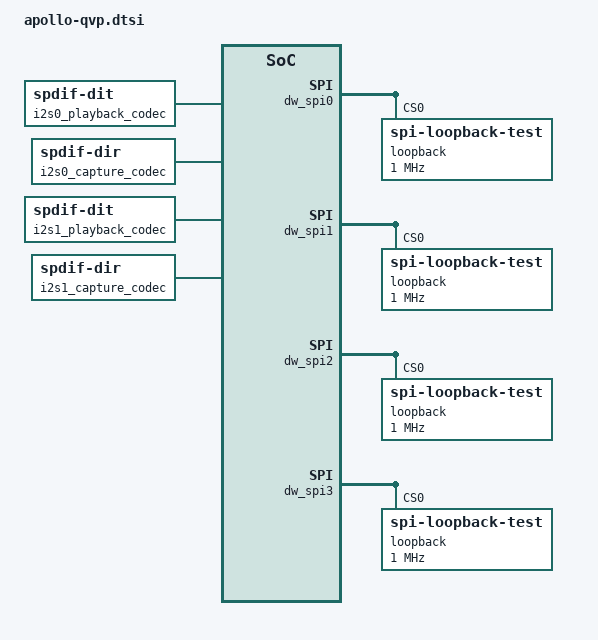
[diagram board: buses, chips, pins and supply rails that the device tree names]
// SPDX-License-Identifier: (GPL-2.0 OR BSD-3-Clause)
/*
 * Copyright (c) 2025-2026, Arm Limited. All rights reserved.
 */

/* QBox virtual transports and the existing SPI/audio test profile. */
#include "apollo.dtsi"

/ {
	i2s_clk: clock-1536000 {
		compatible = "fixed-clock";
		#clock-cells = <0>;
		clock-frequency = <1536000>;
	};

	i2s0_playback_codec: i2s0-spdif-dit {
		compatible = "linux,spdif-dit";
		#sound-dai-cells = <0>;
	};

	i2s0_capture_codec: i2s0-spdif-dir {
		compatible = "linux,spdif-dir";
		#sound-dai-cells = <0>;
	};

	i2s1_playback_codec: i2s1-spdif-dit {
		compatible = "linux,spdif-dit";
		#sound-dai-cells = <0>;
	};

	i2s1_capture_codec: i2s1-spdif-dir {
		compatible = "linux,spdif-dir";
		#sound-dai-cells = <0>;
	};

	i2s0_sound: i2s0-sound {
		compatible = "simple-audio-card";
		simple-audio-card,name = "Apollo I2S0";
		#address-cells = <1>;
		#size-cells = <0>;
		status = "disabled";

		simple-audio-card,dai-link@0 {
			reg = <0>;
			format = "i2s";
			bitclock-master = <&i2s0_tx_cpu>;
			frame-master = <&i2s0_tx_cpu>;

			i2s0_tx_cpu: cpu {
				sound-dai = <&dw_i2s0>;
			};

			codec {
				sound-dai = <&i2s0_playback_codec>;
			};
		};

		simple-audio-card,dai-link@1 {
			reg = <1>;
			format = "i2s";
			bitclock-master = <&i2s0_rx_cpu>;
			frame-master = <&i2s0_rx_cpu>;

			i2s0_rx_cpu: cpu {
				sound-dai = <&dw_i2s0>;
			};

			codec {
				sound-dai = <&i2s0_capture_codec>;
			};
		};
	};

	i2s1_sound: i2s1-sound {
		compatible = "simple-audio-card";
		simple-audio-card,name = "Apollo I2S1";
		#address-cells = <1>;
		#size-cells = <0>;
		status = "disabled";

		simple-audio-card,dai-link@0 {
			reg = <0>;
			format = "i2s";
			bitclock-master = <&i2s1_tx_codec>;
			frame-master = <&i2s1_tx_codec>;

			cpu {
				sound-dai = <&dw_i2s1>;
			};

			i2s1_tx_codec: codec {
				sound-dai = <&i2s1_playback_codec>;
			};
		};

		simple-audio-card,dai-link@1 {
			reg = <1>;
			format = "i2s";
			bitclock-master = <&i2s1_rx_codec>;
			frame-master = <&i2s1_rx_codec>;

			cpu {
				sound-dai = <&dw_i2s1>;
			};

			i2s1_rx_codec: codec {
				sound-dai = <&i2s1_capture_codec>;
			};
		};
	};

	cpus {
		/*
		 * The latency and residency numbers below are for illustrative
		 * purposes only and may vary on actual silicon. These values are
		 * considered just to demonstrate that the cpuidle governor logic
		 * works.
		 */
		idle-states {
			entry-method = "psci";

			cpu_sleep: cpu-sleep {
				compatible = "arm,idle-state";
				arm,psci-suspend-param = <0x10000>;
				entry-latency-us = <800>;
				exit-latency-us = <3200>;
				local-timer-stop;
				min-residency-us = <4200>;
			};

			cluster_sleep: cluster-sleep {
				compatible = "arm,idle-state";
				arm,psci-suspend-param = <0x1010000>;
				entry-latency-us = <1000>;
				exit-latency-us = <3200>;
				local-timer-stop;
				min-residency-us = <4500>;
			};
		};
	};
};

&soc {
	pcie_epc: pcie-epc@30300000 {
		compatible = "qbox,pcie-epc";
		reg = <0x0 0x30300000 0x0 0x1000>,
		      <0x0 0x30400000 0x0 0x400000>;
		reg-names = "ctrl", "mem";
		status = "disabled";
	};

	pcie: pcie@43b50000 {
		compatible = "pci-host-ecam-generic";
		device_type = "pci";
		#address-cells = <3>;
		#size-cells = <2>;
		#interrupt-cells = <1>;
		reg = <0x0 0x43b50000 0x0 0x10000000>;
		bus-range = <0x0 0xff>;
		linux,pci-domain = <0>;
		dma-coherent;

		ranges = <0x01000000 0x0 0x00000000
			  0x0 0x60200000 0x0 0x00100000>,
			 <0x02000000 0x0 0x60300000
			  0x0 0x60300000 0x0 0x1fd00000>,
			 <0x03000000 0x4 0x00000000
			  0x4 0x00000000 0x2 0x00000000>;

		msi-map = <0x0 &its 0x0 0x10000>;
		iommu-map = <0x0 &smmu 0x0 0x10000>;

		interrupt-map-mask = <0xf800 0x0 0x0 0x7>;
		interrupt-map =
			<0x0800 0x0 0x0 0x1 &gic 0x0 0x0
			 GIC_SPI 301 IRQ_TYPE_LEVEL_HIGH>,
			<0x0800 0x0 0x0 0x2 &gic 0x0 0x0
			 GIC_SPI 302 IRQ_TYPE_LEVEL_HIGH>,
			<0x0800 0x0 0x0 0x3 &gic 0x0 0x0
			 GIC_SPI 303 IRQ_TYPE_LEVEL_HIGH>,
			<0x0800 0x0 0x0 0x4 &gic 0x0 0x0
			 GIC_SPI 300 IRQ_TYPE_LEVEL_HIGH>,
			<0x1000 0x0 0x0 0x1 &gic 0x0 0x0
			 GIC_SPI 302 IRQ_TYPE_LEVEL_HIGH>,
			<0x1000 0x0 0x0 0x2 &gic 0x0 0x0
			 GIC_SPI 303 IRQ_TYPE_LEVEL_HIGH>,
			<0x1000 0x0 0x0 0x3 &gic 0x0 0x0
			 GIC_SPI 300 IRQ_TYPE_LEVEL_HIGH>,
			<0x1000 0x0 0x0 0x4 &gic 0x0 0x0
			 GIC_SPI 301 IRQ_TYPE_LEVEL_HIGH>,
			<0x1800 0x0 0x0 0x1 &gic 0x0 0x0
			 GIC_SPI 303 IRQ_TYPE_LEVEL_HIGH>,
			<0x1800 0x0 0x0 0x2 &gic 0x0 0x0
			 GIC_SPI 300 IRQ_TYPE_LEVEL_HIGH>,
			<0x1800 0x0 0x0 0x3 &gic 0x0 0x0
			 GIC_SPI 301 IRQ_TYPE_LEVEL_HIGH>,
			<0x1800 0x0 0x0 0x4 &gic 0x0 0x0
			 GIC_SPI 302 IRQ_TYPE_LEVEL_HIGH>,
			<0x2000 0x0 0x0 0x1 &gic 0x0 0x0
			 GIC_SPI 300 IRQ_TYPE_LEVEL_HIGH>,
			<0x2000 0x0 0x0 0x2 &gic 0x0 0x0
			 GIC_SPI 301 IRQ_TYPE_LEVEL_HIGH>,
			<0x2000 0x0 0x0 0x3 &gic 0x0 0x0
			 GIC_SPI 302 IRQ_TYPE_LEVEL_HIGH>,
			<0x2000 0x0 0x0 0x4 &gic 0x0 0x0
			 GIC_SPI 303 IRQ_TYPE_LEVEL_HIGH>,
			<0x2800 0x0 0x0 0x1 &gic 0x0 0x0
			 GIC_SPI 301 IRQ_TYPE_LEVEL_HIGH>,
			<0x2800 0x0 0x0 0x2 &gic 0x0 0x0
			 GIC_SPI 302 IRQ_TYPE_LEVEL_HIGH>,
			<0x2800 0x0 0x0 0x3 &gic 0x0 0x0
			 GIC_SPI 303 IRQ_TYPE_LEVEL_HIGH>,
			<0x2800 0x0 0x0 0x4 &gic 0x0 0x0
			 GIC_SPI 300 IRQ_TYPE_LEVEL_HIGH>;
		status = "disabled";
	};

	virtio@30020000 {
		compatible = "virtio,mmio";
		reg = <0x0 0x30020000 0x0 0x10000>;
		interrupts = <GIC_SPI 257 IRQ_TYPE_LEVEL_HIGH>;
	};

	virtio@30030000 {
		compatible = "virtio,mmio";
		reg = <0x0 0x30030000 0x0 0x10000>;
		interrupts = <GIC_SPI 258 IRQ_TYPE_LEVEL_HIGH>;
	};

	virtio@30040000 {
		compatible = "virtio,mmio";
		reg = <0x0 0x30040000 0x0 0x10000>;
		interrupts = <GIC_SPI 259 IRQ_TYPE_LEVEL_HIGH>;
	};

	virtio@30050000 {
		compatible = "virtio,mmio";
		reg = <0x0 0x30050000 0x0 0x10000>;
		interrupts = <GIC_SPI 260 IRQ_TYPE_LEVEL_HIGH>;
	};

	virtio@30060000 {
		compatible = "virtio,mmio";
		reg = <0x0 0x30060000 0x0 0x10000>;
		interrupts = <GIC_SPI 261 IRQ_TYPE_LEVEL_HIGH>;
	};

	virtio@30080000 {
		compatible = "virtio,mmio";
		reg = <0x0 0x30080000 0x0 0x10000>;
		interrupts = <GIC_SPI 263 IRQ_TYPE_LEVEL_HIGH>;
	};
};

&dw_spi0 {

	loopback@0 {
		compatible = "linux,spi-loopback-test";
		reg = <0>;
		spi-max-frequency = <1000000>;
	};
};

&dw_spi1 {

	loopback@0 {
		compatible = "linux,spi-loopback-test";
		reg = <0>;
		spi-max-frequency = <1000000>;
	};
};

&dw_spi2 {

	loopback@0 {
		compatible = "linux,spi-loopback-test";
		reg = <0>;
		spi-max-frequency = <1000000>;
	};
};

&dw_spi3 {

	loopback@0 {
		compatible = "linux,spi-loopback-test";
		reg = <0>;
		spi-max-frequency = <1000000>;
	};
};

&dw_i2s0 {
	clocks = <&i2s_clk>;
	clock-names = "i2sclk";
};

&dw_i2s1 {
	clocks = <&i2s_clk>;
	clock-names = "i2sclk";
};

&cpu0 {
	cpu-idle-states = <&cpu_sleep &cluster_sleep>;
};

&cpu1 {
	cpu-idle-states = <&cpu_sleep &cluster_sleep>;
};

&cpu2 {
	cpu-idle-states = <&cpu_sleep &cluster_sleep>;
};

&cpu3 {
	cpu-idle-states = <&cpu_sleep &cluster_sleep>;
};

&cpu4 {
	cpu-idle-states = <&cpu_sleep &cluster_sleep>;
};

&cpu5 {
	cpu-idle-states = <&cpu_sleep &cluster_sleep>;
};

&cpu6 {
	cpu-idle-states = <&cpu_sleep &cluster_sleep>;
};

&cpu7 {
	cpu-idle-states = <&cpu_sleep &cluster_sleep>;
};

&cpu8 {
	cpu-idle-states = <&cpu_sleep &cluster_sleep>;
};

&cpu9 {
	cpu-idle-states = <&cpu_sleep &cluster_sleep>;
};

&cpu10 {
	cpu-idle-states = <&cpu_sleep &cluster_sleep>;
};

&cpu11 {
	cpu-idle-states = <&cpu_sleep &cluster_sleep>;
};

&cpu12 {
	cpu-idle-states = <&cpu_sleep &cluster_sleep>;
};

&cpu13 {
	cpu-idle-states = <&cpu_sleep &cluster_sleep>;
};

&cpu14 {
	cpu-idle-states = <&cpu_sleep &cluster_sleep>;
};

&cpu15 {
	cpu-idle-states = <&cpu_sleep &cluster_sleep>;
};
